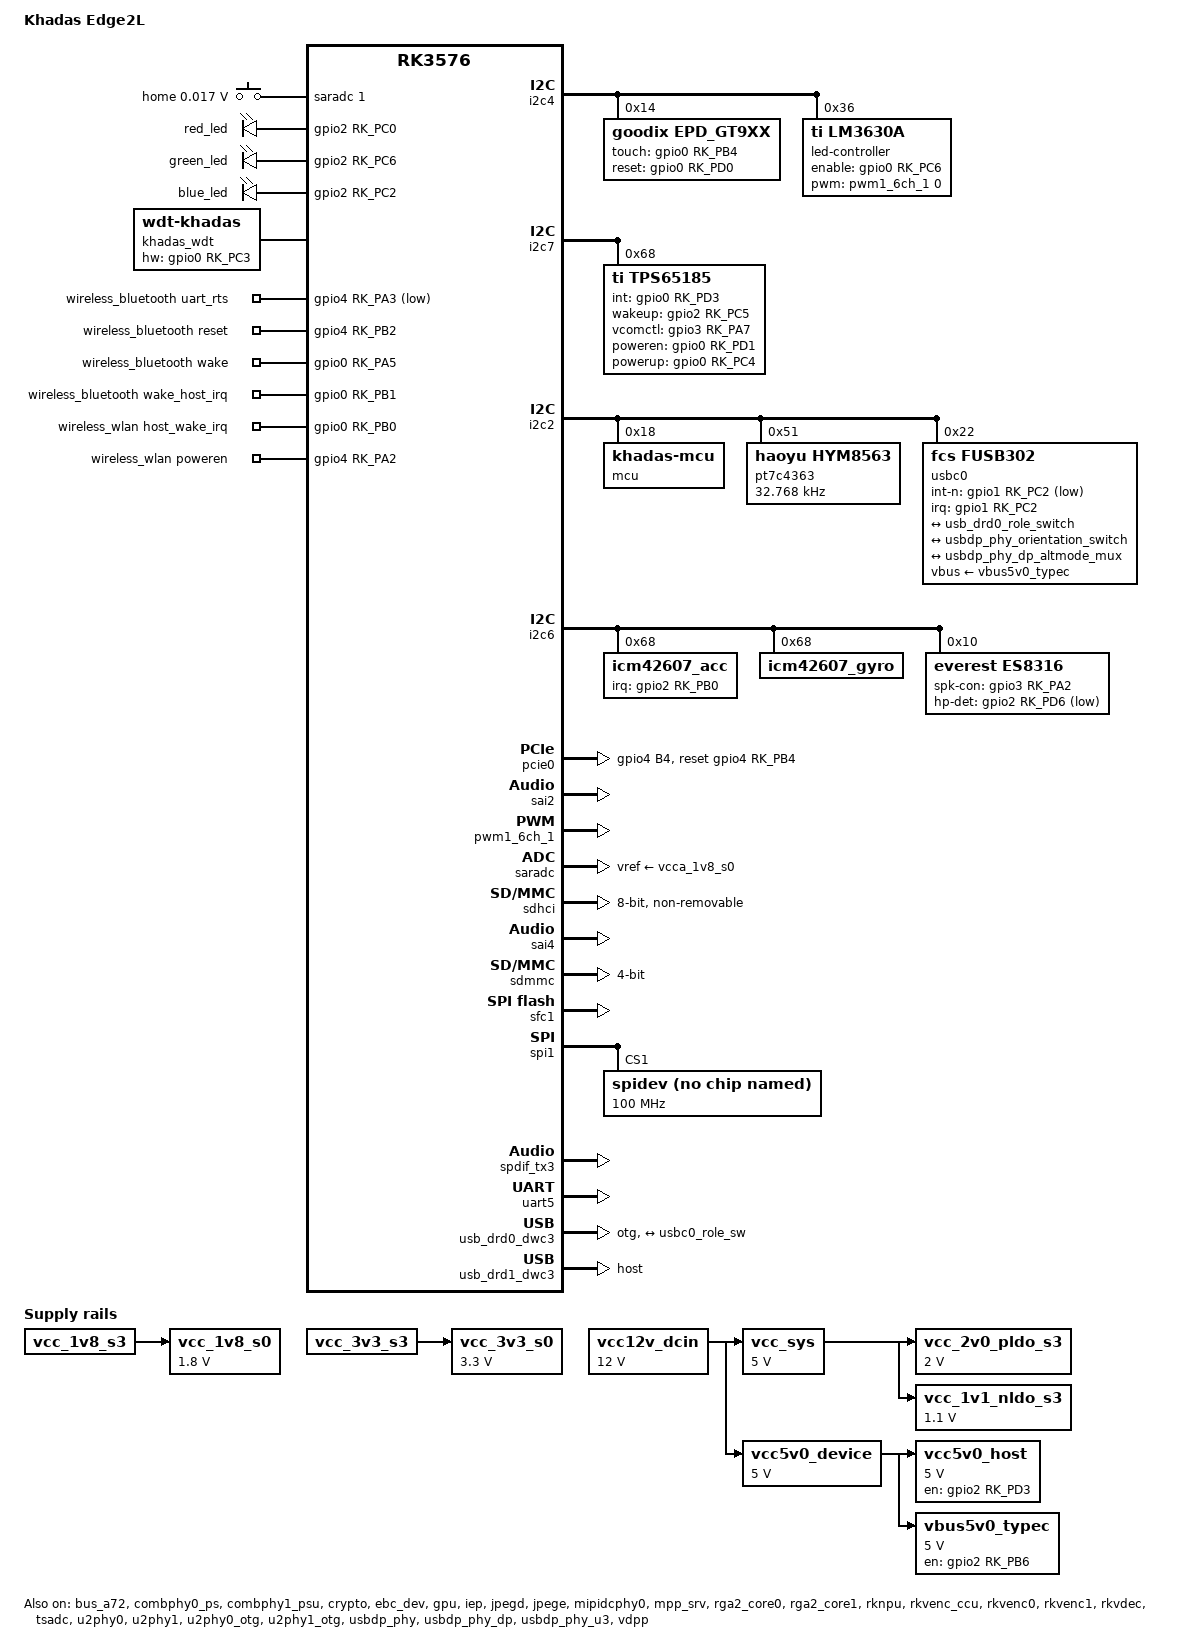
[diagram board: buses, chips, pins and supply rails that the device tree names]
// SPDX-License-Identifier: (GPL-2.0+ OR MIT)
/*
 * Copyright (c) 2024 Rockchip Electronics Co., Ltd.
 *
 */

/dts-v1/;

#include <dt-bindings/gpio/gpio.h>
#include <dt-bindings/pwm/pwm.h>
#include <dt-bindings/pinctrl/rockchip.h>
#include <dt-bindings/input/rk-input.h>
#include <dt-bindings/display/drm_mipi_dsi.h>
#include <dt-bindings/display/rockchip_vop.h>
#include <dt-bindings/sensor-dev.h>
#include <dt-bindings/usb/pd.h>
#include "rk3576.dtsi"
#include "rk3576-khadas-edge-2l-camera.dtsi"
#include "rk3576-android.dtsi"
#include "rk3576-eink.dtsi"

/ {
	model = "Khadas Edge2L";
	compatible = "khadas,edge2l-ebook", "rockchip,rk3576";

	adc_keys: adc-keys {
		compatible = "adc-keys";
		io-channels = <&saradc 1>;
		io-channel-names = "buttons";
		keyup-threshold-microvolt = <1800000>;
		poll-interval = <100>;

		home-key {
			label = "home";
			linux,code = <KEY_HOMEPAGE>;
			press-threshold-microvolt = <17000>;
		};
	};

	leds {
		compatible = "gpio-leds";
		pinctrl-names = "default";

		red_led {
			gpios = <&gpio2 RK_PC0 GPIO_ACTIVE_HIGH>;
			label = "red_led";
			linux,default-trigger = "off";
			default-state = "on";
		};

		green_led {
			gpios = <&gpio2 RK_PC6 GPIO_ACTIVE_HIGH>;
			label = "green_led";
			linux,default-trigger = "off";
			default-state = "on";
		};

		blue_led {
			gpios = <&gpio2 RK_PC2 GPIO_ACTIVE_HIGH>;
			label = "blue_led";
			linux,default-trigger = "default-on";
			default-state = "on";
		};
	};

	es8316_sound: es8316-sound {
		compatible = "simple-audio-card";
		simple-audio-card,format = "i2s";
		simple-audio-card,mclk-fs = <512>;
		simple-audio-card,name = "rockchip,es8316-codec";
		simple-audio-card,dai-link@0 {
			format = "i2s";
			cpu {
				sound-dai = <&sai2>;
			};
			codec {
				sound-dai = <&es8316>;
			};
		};
	};

	bt_sco: bt-sco {
		status = "okay";
		compatible = "delta,dfbmcs320";
		#sound-dai-cells = <1>;
	};

	bt_sound: bt-sound {
		status = "okay";
		compatible = "simple-audio-card";
		simple-audio-card,format = "dsp_a";
		simple-audio-card,bitclock-inversion;
		simple-audio-card,mclk-fs = <256>;
		simple-audio-card,name = "rockchip,bt";
		simple-audio-card,cpu {
			sound-dai = <&sai4>;
		};
		simple-audio-card,codec {
			sound-dai = <&bt_sco 1>;
		};
	};

	khadas_wdt {
		compatible = "linux,wdt-khadas";
		status = "okay";
		hw_margin_ms = <500>;
		hw-gpios = <&gpio0 RK_PC3 GPIO_ACTIVE_HIGH>;
		pinctrl-names = "default";
		pinctrl-0 = <&wdt_gpio>;
	};

	test-power {
		status = "okay";
	};

	vcc12v_dcin: vcc12v-dcin {
		compatible = "regulator-fixed";
		regulator-name = "vcc12v_dcin";
		regulator-always-on;
		regulator-boot-on;
		regulator-min-microvolt = <12000000>;
		regulator-max-microvolt = <12000000>;
	};

	vcc_sys: vcc5v0-sys {
		compatible = "regulator-fixed";
		regulator-name = "vcc_sys";
		regulator-always-on;
		regulator-boot-on;
		regulator-min-microvolt = <5000000>;
		regulator-max-microvolt = <5000000>;
		vin-supply = <&vcc12v_dcin>;
	};

	vcc5v0_device: vcc5v0-device {
		compatible = "regulator-fixed";
		regulator-name = "vcc5v0_device";
		regulator-always-on;
		regulator-boot-on;
		regulator-min-microvolt = <5000000>;
		regulator-max-microvolt = <5000000>;
		vin-supply = <&vcc12v_dcin>;
	};

	vcc_1v8_s0: vcc-1v8-s0 {
		compatible = "regulator-fixed";
		regulator-name = "vcc_1v8_s0";
		regulator-boot-on;
		regulator-always-on;
		regulator-min-microvolt = <1800000>;
		regulator-max-microvolt = <1800000>;
		vin-supply = <&vcc_1v8_s3>;
	};

	vcc_3v3_s0: vcc-3v3-s0 {
		compatible = "regulator-fixed";
		regulator-name = "vcc_3v3_s0";
		regulator-boot-on;
		regulator-always-on;
		regulator-min-microvolt = <3300000>;
		regulator-max-microvolt = <3300000>;
		vin-supply = <&vcc_3v3_s3>;
	};

	vcc_2v0_pldo_s3: vcc-2v0-pldo-s3 {
		compatible = "regulator-fixed";
		regulator-name = "vcc_2v0_pldo_s3";
		regulator-boot-on;
		regulator-always-on;
		regulator-min-microvolt = <2000000>;
		regulator-max-microvolt = <2000000>;
		vin-supply = <&vcc_sys>;
	};

	vcc_1v1_nldo_s3: vcc-1v1-nldo-s3 {
		compatible = "regulator-fixed";
		regulator-name = "vcc_1v1_nldo_s3";
		regulator-boot-on;
		regulator-always-on;
		regulator-min-microvolt = <1100000>;
		regulator-max-microvolt = <1100000>;
		vin-supply = <&vcc_sys>;
	};

	vcc5v0_host: vcc5v0-host {
		compatible = "regulator-fixed";
		regulator-name = "vcc5v0_host";
		regulator-boot-on;
		regulator-always-on;
		regulator-min-microvolt = <5000000>;
		regulator-max-microvolt = <5000000>;
		enable-active-high;
		gpio = <&gpio2 RK_PD3 GPIO_ACTIVE_HIGH>;
		vin-supply = <&vcc5v0_device>;
		pinctrl-names = "default";
		pinctrl-0 = <&usb_host_pwren>;
	};

	vbus5v0_typec: vbus5v0-typec {
		compatible = "regulator-fixed";
		regulator-name = "vbus5v0_typec";
		regulator-min-microvolt = <5000000>;
		regulator-max-microvolt = <5000000>;
		enable-active-high;
		gpio = <&gpio2 RK_PB6 GPIO_ACTIVE_HIGH>;
		vin-supply = <&vcc5v0_device>;
		pinctrl-names = "default";
		pinctrl-0 = <&usb_otg0_pwren>;
	};

	wireless_bluetooth: wireless-bluetooth {
		compatible = "bluetooth-platdata";
		bt_port = "/dev/ttyS5";
		clocks = <&pt7c4363>;
		clock-names = "ext_clock";
		uart_rts_gpios = <&gpio4 RK_PA3 GPIO_ACTIVE_LOW>;
		pinctrl-names = "default", "rts_gpio";
		pinctrl-0 = <&uart5m1_rtsn>;
		pinctrl-1 = <&uart5_gpios>;
		BT,reset_gpio    = <&gpio4 RK_PB2 GPIO_ACTIVE_HIGH>;
		BT,wake_gpio     = <&gpio0 RK_PA5 GPIO_ACTIVE_HIGH>;
		BT,wake_host_irq = <&gpio0 RK_PB1 GPIO_ACTIVE_HIGH>;
		status = "okay";
	};

	wireless_wlan: wireless-wlan {
		compatible = "wlan-platdata";
		wifi_chip_type = "ap6275p";
		pinctrl-names = "default";
		pinctrl-0 = <&wifi_host_wake_irq>, <&wifi_poweren_gpio>;
		WIFI,host_wake_irq = <&gpio0 RK_PB0 GPIO_ACTIVE_HIGH>;
		WIFI,poweren_gpio = <&gpio4 RK_PA2 GPIO_ACTIVE_HIGH>;
		status = "okay";
	};
};

&bus_a72 {
	bus-supply = <&vdd_logic_s0>;
	pvtm-supply = <&vdd_logic_s0>;
	status = "okay";
};

&combphy0_ps {
	status = "okay";
};

&combphy1_psu {
	status = "okay";
};

&cpu_l0 {
	cpu-supply = <&vdd_cpu_lit_s0>;
};

&cpu_b0 {
	cpu-supply = <&vdd_cpu_big_s0>;
};

&crypto {
	status = "okay";
};

&dp {
	status = "disabled";
};

&dp0_in_vp1 {
	status = "disabled";
};

&ebc_dev {
	pmic = <&tps65185>;
	status = "okay";
	/* ED060XCH */
	panel,width = <1448>;
	panel,height = <1072>;
	panel,vir_width = <1448>;
	panel,vir_height = <1072>;
	panel,sdck = <40000000>;
	panel,lsl = <18>;
	panel,lbl = <12>;
	panel,ldl = <362>;
	panel,lel = <40>;
	panel,gdck-sta = <84>;
	panel,lgonl = <288>;
	panel,fsl = <1>;
	panel,fbl = <4>;
	panel,fdl = <1072>;
	panel,fel = <12>;
	panel,mirror = <0>;
	panel,panel_16bit = <0>;
	panel,panel_color = <0>;
	panel,width-mm = <91>;
	panel,height-mm = <122>;
};

&i2c4 {
	status = "okay";
	pinctrl-names = "default";
	pinctrl-0 = <&i2c4m2_xfer>;

	epd_gt9xx: epd-gt9xx@14 {
		compatible = "goodix,epd_gt9xx";
		reg = <0x14>;
		touch-gpio = <&gpio0 RK_PB4 IRQ_TYPE_LEVEL_LOW>;
		reset-gpio = <&gpio0 RK_PD0 GPIO_ACTIVE_HIGH>;
		pinctrl-0 = <&epd_touch_gpio>;
		pinctrl-names = "default";
		max-x = <1072>;
		max-y = <1448>;
		tp-size = <911>;
		wakeup-source = <1>;
		status = "okay";
	};

	led-controller@36 {
		compatible = "ti,lm3630a";
		reg = <0x36>;
		enable-gpios = <&gpio0 RK_PC6 GPIO_ACTIVE_HIGH>;
		pinctrl-0 = <&backlight_hwen_h>;
		pinctrl-names = "default";
		pwm-names = "lm3630a-pwm";
		pwms = <&pwm1_6ch_1 0 25000 0>;
		#address-cells = <1>;
		#size-cells = <0>;

		led@0 {
			reg = <0>;
			label = "backlight";
			default-brightness = <150>;
		};
	};
};

&i2c7 {
	status = "okay";
	pinctrl-names = "default";
	pinctrl-0 = <&i2c7m1_xfer>;

	tps65185: tps65185@68 {
		status = "okay";
		compatible = "ti,tps65185";
		reg = <0x68>;
		pinctrl-names = "default";
		pinctrl-0 = <&tps65185_gpio>;
		int-gpios = <&gpio0 RK_PD3 GPIO_ACTIVE_HIGH>;
		wakeup-gpios = <&gpio2 RK_PC5 GPIO_ACTIVE_HIGH>;
		vcomctl-gpios = <&gpio3 RK_PA7 GPIO_ACTIVE_HIGH>;
		poweren-gpios = <&gpio0 RK_PD1 GPIO_ACTIVE_HIGH>;
		powerup-gpios = <&gpio0 RK_PC4 GPIO_ACTIVE_HIGH>;
	};
};

&gpu {
	mali-supply = <&vdd_gpu_s0>;
	status = "okay";
};

&i2c2 {
	status = "okay";

	mcu: mcu@18 {
		compatible = "khadas-mcu";
		status = "okay";
		reg = <0x18>;
		fan,trig_temp_level0 = <50>;
		fan,trig_temp_level1 = <60>;
		fan,trig_temp_level2 = <65>;
		fan,trig_temp_level3 = <70>;
		fan,trig_temp_level4 = <75>;
		fan,trig_temp_level5 = <80>;
		hwver = "EDGE2L.V11";

	};

	pt7c4363: pt7c4363@51 {
		compatible = "haoyu,hym8563";
		reg = <0x51>;
		#clock-cells = <0>;
		clock-frequency = <32768>;
		clock-output-names = "pt7c4363";
		wakeup-source;
	};

	usbc0: fusb302@22 {
		compatible = "fcs,fusb302";
		reg = <0x22>;
		interrupt-parent = <&gpio1>;
		interrupts = <RK_PC2 IRQ_TYPE_LEVEL_LOW>;
		int-n-gpios = <&gpio1 RK_PC2 GPIO_ACTIVE_LOW>;
		pinctrl-names = "default";
		pinctrl-0 = <&usbc0_int>;
		vbus-supply = <&vbus5v0_typec>;
		status = "okay";

		port {
			usbc0_role_sw: endpoint {
				remote-endpoint = <&usb_drd0_role_switch>;
			};
		};

		usb_con: connector {
			compatible = "usb-c-connector";
			label = "USB-C";
			data-role = "dual";
			power-role = "dual";
			try-power-role = "sink";
			op-sink-microwatt = <1000000>;
			sink-pdos =
				<PDO_FIXED(5000, 3000, PDO_FIXED_USB_COMM)
				PDO_FIXED(9000, 3000, PDO_FIXED_USB_COMM)
				PDO_FIXED(12000, 3000, PDO_FIXED_USB_COMM)>;
			source-pdos =
				<PDO_FIXED(5000, 3000, PDO_FIXED_USB_COMM)>;

			altmodes {
				#address-cells = <1>;
				#size-cells = <0>;

				altmode@0 {
					reg = <0>;
					svid = <0xff01>;
					vdo = <0xffffffff>;
				};
			};

			ports {
				#address-cells = <1>;
				#size-cells = <0>;

				port@0 {
					reg = <0>;
					usbc0_orien_sw: endpoint {
						remote-endpoint = <&usbdp_phy_orientation_switch>;
					};
				};

				port@1 {
					reg = <1>;
					dp_altmode_mux: endpoint {
						remote-endpoint = <&usbdp_phy_dp_altmode_mux>;
					};
				};
			};
		};
	};
};

&i2c6 {
	status = "okay";
	pinctrl-names = "default";
	pinctrl-0 = <&i2c6m2_xfer>;

	icm42607_acc: icm_acc@68 {
		status = "okay";
		compatible = "icm42607_acc";
		reg = <0x68>;
		irq-gpio = <&gpio2 RK_PB0 IRQ_TYPE_EDGE_RISING>;
		irq_enable = <0>;
		poll_delay_ms = <30>;
		type = <SENSOR_TYPE_ACCEL>;
		layout = <4>;
	};

	icm42607_gyro: icm_gyro@68 {
		status = "okay";
		compatible = "icm42607_gyro";
		reg = <0x68>;
		poll_delay_ms = <30>;
		type = <SENSOR_TYPE_GYROSCOPE>;
		layout = <4>;
	};

	es8316: es8316@10 {
		status = "okay";
		#sound-dai-cells = <0>;
		compatible = "everest,es8316";
		reg = <0x10>;
		clocks = <&mclkout_sai2>;
		clock-names = "mclk";
		assigned-clocks = <&mclkout_sai2>;
		assigned-clock-rates = <12288000>;
		pinctrl-0 = <&sai2m0_mclk>,<&hp_det>,<&spk_con>;
		pinctrl-names = "default","hp_det","spk_con";
		spk-con-gpio = <&gpio3 RK_PA2 GPIO_ACTIVE_HIGH>;
		hp-det-gpio = <&gpio2 RK_PD6 GPIO_ACTIVE_LOW>;
	};
};

&pcie0 {
	reset-gpios = <&gpio4 RK_PB4 GPIO_ACTIVE_HIGH>;
	rockchip,skip-scan-in-resume;
	pinctrl-names = "default";
	pinctrl-0 = <&pcie0_poweren_gpio>;
	status = "okay";
};


&sai2 {
	rockchip,always-on;
	status = "okay";
};

&iep {
	status = "okay";
};

&iep_mmu {
	status = "okay";
};

&jpegd {
	status = "okay";
};

&jpege {
	status = "okay";
};

&jpeg_mmu {
	status = "okay";
};

&mipidcphy0 {
	status = "okay";
};

&mpp_srv {
	status = "okay";
};

&pinctrl {
	backlight {
		backlight_hwen_h: backlight-hwen-h {
			rockchip,pins = <0 RK_PC6 RK_FUNC_GPIO &pcfg_pull_up>;
		};
	};

	tp {
		epd_touch_gpio: ebc-touch-gpio {
			rockchip,pins =
				<0 RK_PB4 RK_FUNC_GPIO &pcfg_pull_none_smt>,
				<0 RK_PD0 RK_FUNC_GPIO &pcfg_pull_up>;
		};
	};

	audio {
		hp_det: hp-det {
			rockchip,pins = <2 RK_PD6 RK_FUNC_GPIO &pcfg_pull_none>;
		};
		spk_con: spk-con {
			rockchip,pins = <3 RK_PA2 RK_FUNC_GPIO &pcfg_pull_down>;
		};
	};

	usb {
		usb_host_pwren: usb-host-pwren {
			rockchip,pins = <2 RK_PD3 RK_FUNC_GPIO &pcfg_pull_none>;
		};

		usb_otg0_pwren: usb-otg0-pwren {
			rockchip,pins = <2 RK_PB6 RK_FUNC_GPIO &pcfg_pull_none>;
		};

		usbc0_int: usbc0-int {
			rockchip,pins = <1 RK_PC2 RK_FUNC_GPIO &pcfg_pull_up>;
		};
	};

	tps_pmic {
		tps65185_gpio: tps65185-gpio {
			rockchip,pins =
				<0 RK_PD1 RK_FUNC_GPIO &pcfg_pull_up>,
				<0 RK_PD3 RK_FUNC_GPIO &pcfg_pull_up>,
				<3 RK_PA7 RK_FUNC_GPIO &pcfg_pull_up>,
				<2 RK_PC5 RK_FUNC_GPIO &pcfg_pull_up>,
				<0 RK_PC4 RK_FUNC_GPIO &pcfg_pull_up>;
		};
	};

	wireless-bluetooth {
		uart5_gpios: uart5-gpios {
			rockchip,pins = <4 RK_PA3 RK_FUNC_GPIO &pcfg_pull_none>;
		};
	};

	wireless-wlan {
		wifi_host_wake_irq: wifi-host-wake-irq {
			rockchip,pins = <0 RK_PB0 RK_FUNC_GPIO &pcfg_pull_down>;
		};

		wifi_poweren_gpio: wifi-poweren-gpio {
			rockchip,pins = <4 RK_PA2 RK_FUNC_GPIO &pcfg_pull_up>;
		};

		pcie0_poweren_gpio: pcie0-poweren-gpio {
			rockchip,pins = <4 RK_PB4 RK_FUNC_GPIO &pcfg_pull_up>;
		};
	};

	wdt {
		wdt_gpio: wdt-gpio {
			rockchip,pins = <0 RK_PC3 RK_FUNC_GPIO &pcfg_pull_none>;
		};
	};
};

&pwm1_6ch_1 {
	status = "okay";
	pinctrl-0 = <&pwm1m0_ch1>;
};

&rga2_core0 {
	status = "okay";
};

&rga2_core0_mmu {
	status = "okay";
};

&rga2_core1 {
	status = "okay";
};

&rga2_core1_mmu {
	status = "okay";
};

&rknpu {
	rknpu-supply = <&vdd_npu_s0>;
	status = "okay";
};

&rknpu_mmu {
	status = "okay";
};

&rkvenc_ccu {
	status = "okay";
};

&rkvenc0 {
	status = "okay";
};

&rkvenc0_mmu {
	status = "okay";
};

&rkvenc1 {
	status = "okay";
};

&rkvenc1_mmu {
	status = "okay";

};

&rkvdec {
	status = "okay";
};

&rkvdec_mmu {
	status = "okay";
};

&saradc {
	status = "okay";
	vref-supply = <&vcca_1v8_s0>;
};

&sdhci {
	bus-width = <8>;
	no-sdio;
	no-sd;
	non-removable;
	max-frequency = <200000000>;
	mmc-hs400-1_8v;
	mmc-hs400-enhanced-strobe;
	full-pwr-cycle-in-suspend;
	status = "okay";
};

&sai4 {
	status = "okay";
	pinctrl-names = "default";
	pinctrl-0 = <&sai4m0_lrck
		&sai4m0_sclk
		&sai4m0_sdi
		&sai4m0_sdo>;
};

&sdmmc {
	max-frequency = <200000000>;
	no-sdio;
	no-mmc;
	bus-width = <4>;
	cap-mmc-highspeed;
	cap-sd-highspeed;
	disable-wp;
	sd-uhs-sdr104;
	vqmmc-supply = <&vccio_sd_s0>;
	status = "okay";
};

&sfc1 {
	pinctrl-names = "default";
	pinctrl-0 = <&fspi1m1_pins>;
	status = "okay";
};

&spi1 {
	status = "okay";
	pinctrl-names = "default";
	pinctrl-0 = <&spi1m0_csn0 &spi1m0_pins>;
	spidev@1 {
		compatible = "rockchip,spidev";
		reg = <1>;
		spi-max-frequency = <100000000>;
		status = "okay";
	};
};

&tsadc {
	status = "okay";
};

&spdif_tx3 {
	status = "okay";
};

&uart5 {
	status = "okay";
	pinctrl-names = "default";
	pinctrl-0 = <&uart5m1_xfer &uart5m1_ctsn>;
};

&ufs {
	status = "disabled";
};

&u2phy0 {
	status = "okay";
};

&u2phy1 {
	status = "okay";
};

&u2phy0_otg {
	status = "okay";
	rockchip,typec-vbus-det;
};

&u2phy1_otg {
	phy-supply = <&vcc5v0_host>;
	status = "okay";
};

&usbdp_phy {
	status = "okay";
	orientation-switch;
	svid = <0xff01>;
	sbu1-dc-gpios = <&gpio4 RK_PC4 GPIO_ACTIVE_HIGH>;
	sbu2-dc-gpios = <&gpio4 RK_PC5 GPIO_ACTIVE_HIGH>;

	port {
		#address-cells = <1>;
		#size-cells = <0>;

		usbdp_phy_orientation_switch: endpoint@0 {
			reg = <0>;
			remote-endpoint = <&usbc0_orien_sw>;
		};

		usbdp_phy_dp_altmode_mux: endpoint@1 {
			reg = <1>;
			remote-endpoint = <&dp_altmode_mux>;
		};
	};
};

&usbdp_phy_dp {
	status = "okay";
};

&usbdp_phy_u3 {
	status = "okay";
};

&usb_drd0_dwc3 {
	status = "okay";
	dr_mode = "otg";
	usb-role-switch;
	port {
		usb_drd0_role_switch: endpoint {
			remote-endpoint = <&usbc0_role_sw>;
		};
	};
};

&usb_drd1_dwc3 {
	dr_mode = "host";
	status = "okay";
};

&vdpp {
	status = "okay";
};
